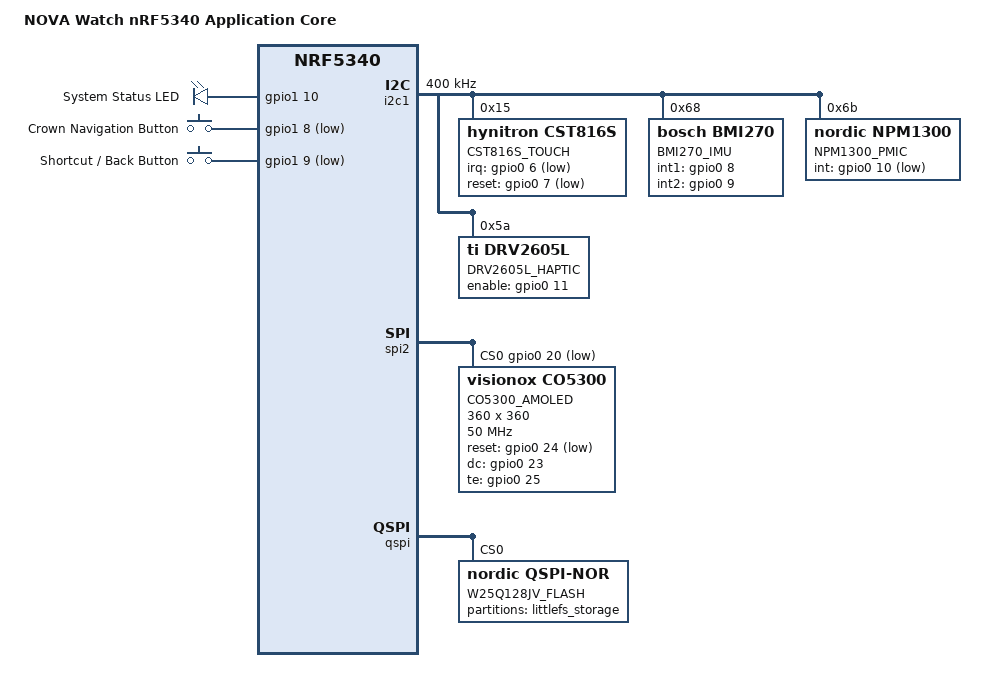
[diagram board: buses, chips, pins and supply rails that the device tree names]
/dts-v1/;
#include <nordic/nrf5340_cpuapp_qkaa.dtsi>
#include "nova_watch_nrf5340_cpuapp-pinctrl.dtsi"

/ {
    model = "NOVA Watch nRF5340 Application Core";
    compatible = "nordic,nova-watch-nrf5340-cpuapp";

    chosen {
        zephyr,sram = &sram0_image;
        zephyr,flash = &flash0;
        zephyr,code-partition = &slot0_partition;
        zephyr,console = &uart0;
        zephyr,shell-uart = &uart0;
        zephyr,display = &display0;
        zephyr,touch = &touch0;
        nordic,pm-ext-flash = &w25q128jv;
    };

    aliases {
        led0 = &led0;
        sw0 = &button0;
        sw1 = &button1;
        watchdog0 = &wdt0;
        cst816s = &touch0;
        bmi270 = &imu0;
        npm1300 = &pmic0;
        drv2605 = &haptic0;
    };

    leds {
        compatible = "gpio-leds";
        led0: led_0 {
            gpios = <&gpio1 10 GPIO_ACTIVE_HIGH>;
            label = "System Status LED";
        };
    };

    buttons {
        compatible = "gpio-keys";
        button0: button_0 {
            gpios = <&gpio1 8 (GPIO_PULL_UP | GPIO_ACTIVE_LOW)>;
            label = "Crown Navigation Button";
        };
        button1: button_1 {
            gpios = <&gpio1 9 (GPIO_PULL_UP | GPIO_ACTIVE_LOW)>;
            label = "Shortcut / Back Button";
        };
    };
};

&i2c1 {
    compatible = "nordic,nrf-twim";
    status = "okay";
    pinctrl-0 = <&i2c1_default>;
    pinctrl-1 = <&i2c1_sleep>;
    pinctrl-names = "default", "sleep";
    clock-frequency = <I2C_BITRATE_FAST>;

    touch0: cst816s@15 {
        compatible = "hynitron,cst816s";
        reg = <0x15>;
        irq-gpios = <&gpio0 6 (GPIO_PULL_UP | GPIO_ACTIVE_LOW)>;
        reset-gpios = <&gpio0 7 GPIO_ACTIVE_LOW>;
        label = "CST816S_TOUCH";
    };

    imu0: bmi270@68 {
        compatible = "bosch,bmi270";
        reg = <0x68>;
        int1-gpios = <&gpio0 8 GPIO_ACTIVE_HIGH>;
        int2-gpios = <&gpio0 9 GPIO_ACTIVE_HIGH>;
        label = "BMI270_IMU";
    };

    pmic0: npm1300@6b {
        compatible = "nordic,npm1300";
        reg = <0x6b>;
        int-gpios = <&gpio0 10 (GPIO_PULL_UP | GPIO_ACTIVE_LOW)>;
        label = "NPM1300_PMIC";
    };

    haptic0: drv2605l@5a {
        compatible = "ti,drv2605l";
        reg = <0x5a>;
        enable-gpios = <&gpio0 11 GPIO_ACTIVE_HIGH>;
        label = "DRV2605L_HAPTIC";
    };
};

&spi2 {
    compatible = "nordic,nrf-spim";
    status = "okay";
    pinctrl-0 = <&spi2_default>;
    pinctrl-names = "default";
    cs-gpios = <&gpio0 20 GPIO_ACTIVE_LOW>;

    display0: co5300@0 {
        compatible = "visionox,co5300";
        reg = <0>;
        spi-max-frequency = <50000000>;
        reset-gpios = <&gpio0 24 GPIO_ACTIVE_LOW>;
        dc-gpios = <&gpio0 23 GPIO_ACTIVE_HIGH>;
        te-gpios = <&gpio0 25 GPIO_ACTIVE_HIGH>;
        width = <360>;
        height = <360>;
        label = "CO5300_AMOLED";
    };
};

&qspi {
    status = "okay";
    pinctrl-0 = <&qspi_default>;
    pinctrl-names = "default";

    w25q128jv: w25q128jv@0 {
        compatible = "nordic,qspi-nor";
        reg = <0>;
        writeoc = "pp4io";
        readoc = "read4io";
        sck-frequency = <32000000>;
        jedec-id = [ef 40 18];
        size = <0x1000000>; // 16 MBytes
        label = "W25Q128JV_FLASH";

        partitions {
            compatible = "fixed-partitions";
            #address-cells = <1>;
            #size-cells = <1>;

            lfs_partition: partition@200000 {
                label = "littlefs_storage";
                reg = <0x00200000 0x00E00000>; // 14 MB LittleFS
            };
        };
    };
};

&flash0 {
    partitions {
        compatible = "fixed-partitions";
        #address-cells = <1>;
        #size-cells = <1>;

        boot_partition: partition@0 {
            label = "mcuboot";
            reg = <0x00000000 0x00010000>; // 64 KB
        };

        slot0_partition: partition@10000 {
            label = "image-0";
            reg = <0x00010000 0x0006C000>; // 432 KB
        };

        slot1_partition: partition@7C000 {
            label = "image-1";
            reg = <0x0007C000 0x00080000>; // 512 KB
        };

        storage_partition: partition@FC000 {
            label = "storage";
            reg = <0x000FC000 0x00004000>; // 16 KB NVS
        };
    };
};

